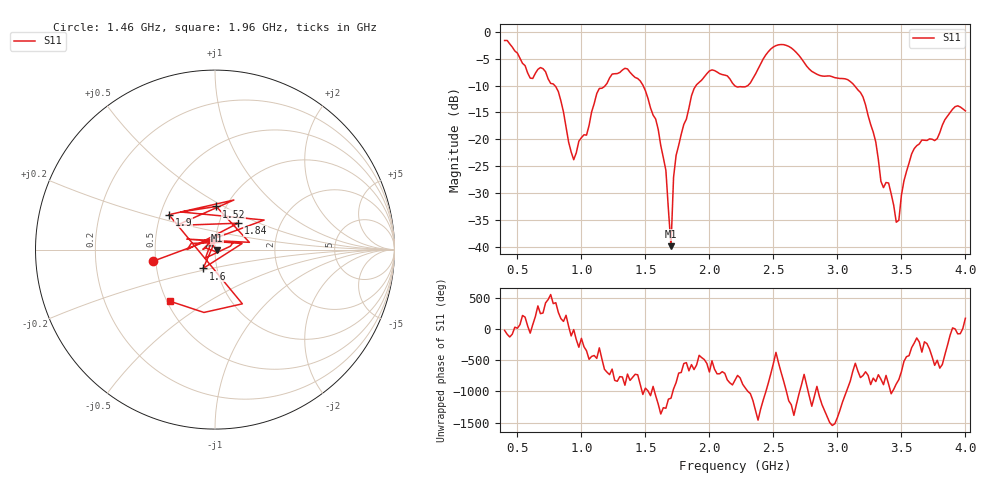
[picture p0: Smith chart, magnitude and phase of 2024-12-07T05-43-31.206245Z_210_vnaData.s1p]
!Created with skrf (http://scikit-rf.org).
# Hz S RI R 50.0
!freq ReS11 ImS11
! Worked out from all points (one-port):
!   181 points, 400 MHz to 4 GHz, reference 50 ohm
!   lowest |S11| = -39.9 dB at 1.7 GHz (marker M1), VSWR 1.02, Z = 50.9 - j0.498 ohm
!   |S11| at or under -10 dB: 791.6 MHz to 1.186 GHz (394.8 MHz wide, 39.9 % of centre); 1.482 GHz to 1.896 GHz (414 MHz wide, 24.5 % of centre); 3.133 GHz to end of sweep (the widest 3 of 4)
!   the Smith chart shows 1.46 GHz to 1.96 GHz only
!   S11 on the Smith chart (normalised r, x): 1.46 GHz: 0.49, -0.07; 1.52 GHz: 0.90, +0.46; 1.6 GHz: 0.86, -0.18; 1.84 GHz: 1.23, +0.38; 1.9 GHz: 0.55, +0.24; 1.96 GHz: 0.52, -0.35
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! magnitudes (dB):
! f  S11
! 400 MHz  -1.6
! 600 MHz  -8.6
! 720 MHz  -7.4
! 860 MHz  -14.9
! 940 MHz  -23.8
! 1.14 GHz  -10.5
! 1.3 GHz  -7.6
! 1.46 GHz  -9.2
! 1.52 GHz  -12.4
! 1.6 GHz  -18.2
! 1.66 GHz  -25.8
! 1.7 GHz  -39.9
! 1.72 GHz  -27.1
! 1.76 GHz  -21.1
! 1.84 GHz  -14.2
! 1.9 GHz  -9.8
! 1.96 GHz  -8.4
! 2.2 GHz  -10.1
! 2.5 GHz  -2.8
! 2.66 GHz  -3.4
! 3.1 GHz  -9.2
! 3.2 GHz  -12.1
! 3.3 GHz  -20.5
! 3.34 GHz  -27.8
! 3.4 GHz  -28.1
! 3.46 GHz  -35.4
! 3.56 GHz  -24.4
! 4 GHz  -14.7
